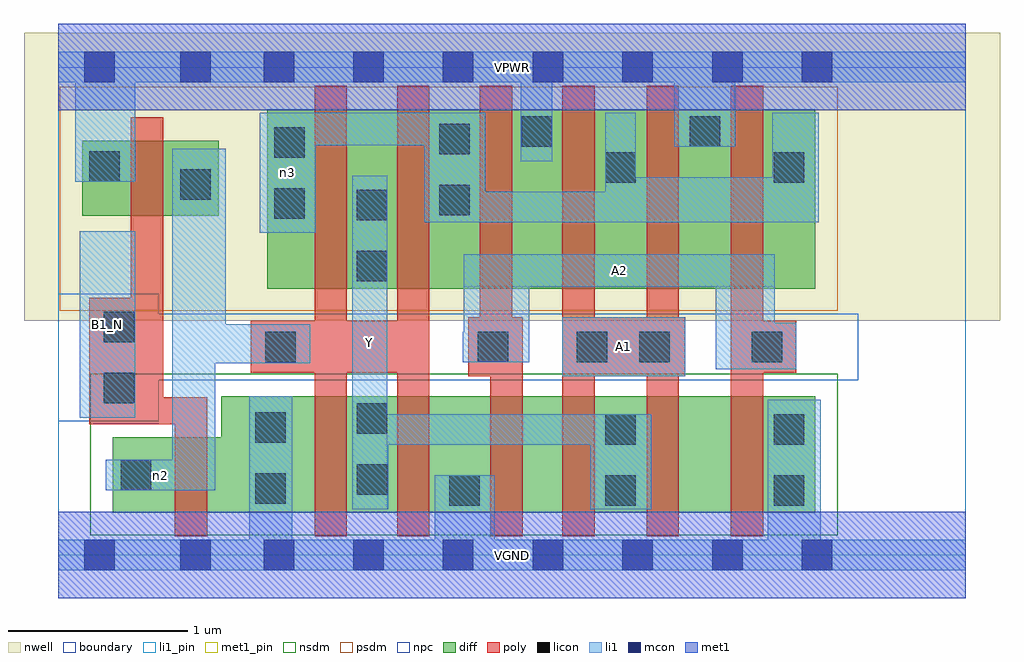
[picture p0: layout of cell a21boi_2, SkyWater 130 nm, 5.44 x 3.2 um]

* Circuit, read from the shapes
.subckt a21boi_2 A1 A2 B1_N VGND VPWR Y n2 n3
XM1 VGND B1_N n2 VSUBS sky130_fd_pr__nfet_01v8 w=0.42 l=0.18
XM2 Y n2 VGND VSUBS sky130_fd_pr__nfet_01v8 w=0.65 l=0.18 m=2
XM3 n1 A2 VGND VSUBS sky130_fd_pr__nfet_01v8 w=0.65 l=0.18
XM4 Y A1 n1 VSUBS sky130_fd_pr__nfet_01v8 w=0.65 l=0.18
XM5 n4 A1 Y VSUBS sky130_fd_pr__nfet_01v8 w=0.65 l=0.18
XM6 VGND A2 n4 VSUBS sky130_fd_pr__nfet_01v8 w=0.65 l=0.18
XM7 n2 B1_N VPWR n5 sky130_fd_pr__pfet_01v8 w=0.42 l=0.18
XM8 Y n2 n3 n5 sky130_fd_pr__pfet_01v8 w=1 l=0.18 m=2
XM9 VPWR A2 n3 n5 sky130_fd_pr__pfet_01v8 w=1 l=0.18 m=2
XM10 n3 A1 VPWR n5 sky130_fd_pr__pfet_01v8 w=1 l=0.18 m=2
.ends

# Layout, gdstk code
import gdstk
lib = gdstk.Library(unit=1e-6, precision=1e-09)
def R(c, l, rs):  # rectangles x0, y0, x1, y1
    for r in rs: c.add(gdstk.rectangle(r[:2], r[2:], *l))
def A(c, l, x, y, w, h, nx, ny, dx, dy):  # array of equal rectangles
    R(c, l, [(x+i*dx, y+j*dy, x+i*dx+w, y+j*dy+h) for i in range(nx) for j in range(ny)])
nwell = (64, 20)
diff = (65, 20)
poly = (66, 20)
licon = (66, 44)
li1_pin = (67, 16)
li1 = (67, 20)
mcon = (67, 44)
met1_pin = (68, 16)
met1 = (68, 20)
nsdm = (93, 44)
psdm = (94, 20)
npc = (95, 20)
boundary = (235, 4)

a21boi_2 = lib.new_cell('a21boi_2')
R(a21boi_2, nwell, [(-0.19,1.305,5.25,2.91), (0,1.305,5.06,2.91)])
R(a21boi_2, diff, [(0.305,0.235,4.22,0.655), (0.91,0.235,4.22,0.885), (1.165,1.485,4.22,2.485), (0.135,1.89,0.895,2.31)])
A(a21boi_2, poly, 2.81, 0.105, 0.18, 2.51, 3, 1, 0.47, 0)
R(a21boi_2, poly, [(0.65,0.105,0.83,0.88), (1.43,0.105,1.61,2.615), (1.89,0.105,2.07,2.615), (2.41,0.105,2.59,1.325), (0.175,0.73,0.585,1.435), (0.175,0.73,0.83,0.88), (0.405,0.73,0.585,2.44), (2.285,0.995,2.59,1.325), (2.35,0.995,2.53,2.615), (2.81,0.995,3.495,1.325), (1.075,1.015,2.07,1.305), (3.75,1.015,4.115,1.305)])
R(a21boi_2, licon, [(2.18,0.275,2.35,0.445), (3.05,0.275,3.22,0.445), (3.99,0.275,4.16,0.445), (1.1,0.285,1.27,0.455), (1.665,0.335,1.835,0.505), (0.35,0.36,0.52,0.53), (3.05,0.615,3.22,0.785), (3.99,0.615,4.16,0.785), (1.1,0.625,1.27,0.795), (1.665,0.675,1.835,0.845), (0.255,0.845,0.425,1.015), (1.155,1.075,1.325,1.245), (2.34,1.075,2.51,1.245), (2.89,1.075,3.06,1.245), (3.24,1.075,3.41,1.245), (3.865,1.075,4.035,1.245), (0.255,1.185,0.425,1.355), (1.665,1.525,1.835,1.695), (1.665,1.865,1.835,2.035), (1.205,1.875,1.375,2.045), (2.125,1.895,2.295,2.065), (0.68,1.98,0.85,2.15), (3.05,2.075,3.22,2.245), (3.99,2.075,4.16,2.245), (0.175,2.08,0.345,2.25), (1.205,2.215,1.375,2.385), (2.125,2.235,2.295,2.405), (2.585,2.275,2.755,2.445), (3.52,2.275,3.69,2.445)])
R(a21boi_2, li1_pin, [(1.64,0.255,1.835,2.115), (0.12,0.765,0.43,1.805), (2.81,0.995,3.495,1.325), (2.26,1.495,3.995,1.675)])
R(a21boi_2, li1, [(0,-0.085,5.06,0.085), (1.065,-0.085,1.305,0.885), (2.1,-0.085,2.435,0.445), (3.955,-0.085,4.25,0.865), (1.64,0.255,1.835,2.115), (1.64,0.255,1.84,0.785), (2.965,0.255,3.305,0.785), (0.265,0.36,0.875,0.53), (0.635,0.36,0.875,2.265), (1.64,0.615,3.305,0.785), (0.12,0.765,0.43,1.805), (2.81,0.995,3.495,1.325), (3.665,1.035,3.995,1.675), (3.665,1.035,4.115,1.295), (0.635,1.07,1.405,1.285), (0.635,1.07,0.935,2.265), (2.255,1.075,2.625,1.245), (2.26,1.075,2.625,1.675), (2.26,1.495,3.995,1.675), (1.125,1.795,1.435,2.465), (2.04,1.855,4.24,2.025), (2.04,1.855,2.38,2.465), (3.05,1.855,3.22,2.465), (3.05,1.855,4.24,2.105), (3.98,1.855,4.24,2.465), (0.095,2.08,0.43,2.805), (2.58,2.195,2.755,2.805), (3.435,2.275,3.775,2.805), (1.125,2.285,2.38,2.465), (0,2.635,5.06,2.805)])
A(a21boi_2, mcon, 1.145, -0.085, 0.17, 0.17, 7, 2, 0.5, 2.72)
R(a21boi_2, mcon, [(0.145,-0.085,0.315,0.085), (0.68,-0.085,0.85,0.085), (0.145,2.635,0.315,2.805), (0.68,2.635,0.85,2.805)])
R(a21boi_2, met1_pin, [(0,-0.24,5.06,0.24), (0,2.48,5.06,2.96)])
R(a21boi_2, met1, [(0,-0.24,5.06,0.24), (0,2.48,5.06,2.96)])
R(a21boi_2, nsdm, [(0.18,0.11,4.345,1.01)])
R(a21boi_2, psdm, [(0.01,1.36,4.345,2.61)])
R(a21boi_2, npc, [(0,0.745,0.56,1.455), (0,0.975,4.46,1.345)])
R(a21boi_2, boundary, [(0,0,5.06,2.72)])
a21boi_2.add(gdstk.Label('A1', (3.152,1.16), layer=67, texttype=5))
a21boi_2.add(gdstk.Label('A2', (3.127,1.585), layer=67, texttype=5))
a21boi_2.add(gdstk.Label('B1_N', (0.275,1.285), layer=67, texttype=5))
a21boi_2.add(gdstk.Label('Y', (1.737,1.185), layer=67, texttype=5))
a21boi_2.add(gdstk.Label('n2', (0.57,0.445), layer=67, texttype=5))
a21boi_2.add(gdstk.Label('n3', (1.28,2.13), layer=67, texttype=5))
a21boi_2.add(gdstk.Label('VPWR', (2.53,2.72), layer=68, texttype=5))
a21boi_2.add(gdstk.Label('VGND', (2.53,0), layer=68, texttype=5))
a21boi_2.add(gdstk.Label('A1', (3.152,1.16), layer=67, texttype=16))
a21boi_2.add(gdstk.Label('A2', (3.127,1.585), layer=67, texttype=16))
a21boi_2.add(gdstk.Label('B1_N', (0.275,1.285), layer=67, texttype=16))
a21boi_2.add(gdstk.Label('Y', (1.737,1.185), layer=67, texttype=16))
a21boi_2.add(gdstk.Label('VPWR', (2.53,2.72), layer=68, texttype=16))
a21boi_2.add(gdstk.Label('VGND', (2.53,0), layer=68, texttype=16))

lib.write_gds('a21boi_2.gds')
